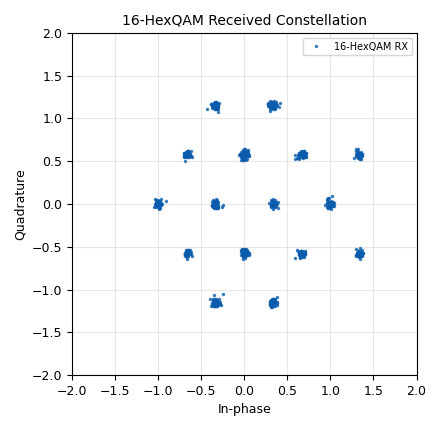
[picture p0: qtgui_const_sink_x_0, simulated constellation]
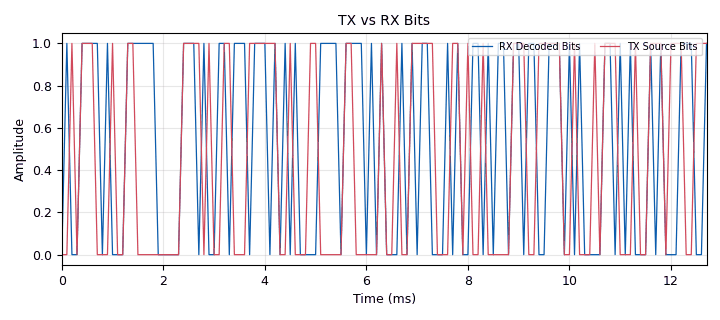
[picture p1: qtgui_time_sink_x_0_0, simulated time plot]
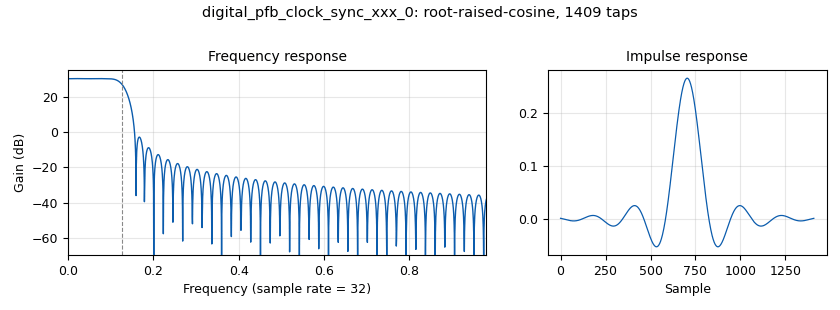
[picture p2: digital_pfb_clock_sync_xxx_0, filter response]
options:
  parameters:
    author: JaganMohan
    category: Custom
    description: 16-HexQAM simulation using native GRC blocks with custom constellation
    generate_options: qt_gui
    id: HQAM16
    output_language: python
    title: 16-HexQAM (Hexagonal QAM)
  states: {}

blocks:
- name: Alpha
  id: variable
  parameters:
    value: '0.22'
  states: {}
- name: hqam_const
  id: variable_constellation
  parameters:
    comment: '16-HexQAM: 16 custom hexagonal IQ points, Es~1'
    const_points: '[-0.3333+1.1547j, 0.3333+1.1547j, -0.6667+0.5774j, 0.0000+0.5774j, 0.6667+0.5774j, 1.3333+0.5774j, -0.3333+0.0000j, 0.3333+0.0000j, 1.0000+0.0000j, -0.6667-0.5774j, 0.0000-0.5774j, 0.6667-0.5774j, 1.3333-0.5774j, -0.3333-1.1547j, 0.3333-1.1547j, -1.0000+0.0000j]'
    dims: '1'
    normalization: digital.constellation.NO_NORMALIZATION
    precision: '8'
    rot_sym: '4'
    sym_map: '[0, 1, 2, 3, 4, 5, 6, 7, 8, 9, 10, 11, 12, 13, 14, 15]'
    type: calcdist
  states: {}
- name: nfilts
  id: variable
  parameters:
    value: '32'
  states: {}
- name: noise_volt
  id: variable_qtgui_range
  parameters:
    comment: 0,0,1,1
    gui_hint: 0,0,1,1
    label: 'Channel: Noise Voltage'
    start: '0'
    step: '0.01'
    stop: '1'
    value: '0.05'
    widget: eng_slider
  states: {}
- name: rrc_taps
  id: variable
  parameters:
    value: firdes.root_raised_cosine(nfilts, nfilts, 1.0/float(sps), Alpha, 11*sps*nfilts)
  states: {}
- name: samp_rate
  id: variable
  parameters:
    value: '10000'
  states: {}
- name: sps
  id: variable
  parameters:
    value: '4'
  states: {}
- name: timing_loop_bw
  id: variable
  parameters:
    value: '0.0628'
  states: {}
- name: BER
  id: qtgui_number_sink
  parameters:
    comment: 0,1,1,1
    graph_type: qtgui.NUM_GRAPH_HORIZ
    gui_hint: 0,1,1,1
    label1: BER (16-HexQAM)
    name: BER
    type: float
  states: {}
- name: analog_random_source_x_0
  id: analog_random_source_x
  parameters:
    max: '255'
    min: '0'
    num_samps: '10000'
    repeat: 'True'
    type: byte
  states: {}
- name: blocks_char_to_float_0_0
  id: blocks_char_to_float
  parameters:
    scale: '1'
  states: {}
- name: blocks_char_to_float_0_0_0
  id: blocks_char_to_float
  parameters:
    scale: '1'
  states: {}
- name: blocks_char_to_float_0_1
  id: blocks_char_to_float
  parameters:
    scale: '1'
  states: {}
- name: blocks_delay_0
  id: blocks_delay
  parameters:
    comment: Aligns TX bits with RX after RRC filter + PFB latency
    delay: int(5.5 * sps +7)*4
    type: byte
  states: {}
- name: blocks_integrate_xx_0
  id: blocks_integrate_xx
  parameters:
    decim: '100'
    type: float
  states: {}
- name: blocks_multiply_const_vxx_1
  id: blocks_multiply_const_vxx
  parameters:
    const: 1/100
    type: float
  states: {}
- name: blocks_throttle2_0
  id: blocks_throttle2
  parameters:
    samples_per_second: samp_rate
    type: complex
  states: {}
- name: blocks_unpack_k_bits_bb_0_0
  id: blocks_unpack_k_bits_bb
  parameters:
    k: '8'
  states: {}
- name: blocks_unpack_k_bits_bb_0_0_0
  id: blocks_unpack_k_bits_bb
  parameters:
    k: '4'
  states: {}
- name: blocks_xor_xx_0
  id: blocks_xor_xx
  parameters:
    type: byte
  states: {}
- name: channels_channel_model_0
  id: channels_channel_model
  parameters:
    epsilon: '1'
    freq_offset: '0'
    noise_voltage: noise_volt
    seed: '0'
    taps: 1+0j
  states: {}
- name: digital_constellation_decoder_cb_0
  id: digital_constellation_decoder_cb
  parameters:
    comment: Nearest-neighbour decision using hqam_const Euclidean distance
    constellation: hqam_const
  states: {}
- name: digital_constellation_modulator_0
  id: digital_constellation_modulator
  parameters:
    comment: Maps bytes through hqam_const, applies RRC shaping at sps=4
    constellation: hqam_const
    differential: 'False'
    excess_bw: Alpha
    samples_per_symbol: sps
  states: {}
- name: digital_diff_decoder_bb_0
  id: digital_diff_decoder_bb
  parameters:
    coding: digital.DIFF_DIFFERENTIAL
    modulus: '16'
  states: {}
- name: digital_pfb_clock_sync_xxx_0
  id: digital_pfb_clock_sync_xxx
  parameters:
    filter_size: nfilts
    init_phase: nfilts/2
    loop_bw: timing_loop_bw
    max_dev: '1.5'
    osps: '1'
    sps: sps
    taps: rrc_taps
    type: ccf
  states: {}
- name: qtgui_const_sink_x_0
  id: qtgui_const_sink_x
  parameters:
    comment: 1,0,1,1
    gui_hint: 1,0,1,1
    label1: 16-HexQAM RX
    name: '"16-HexQAM Received Constellation"'
    size: '1024'
    type: complex
  states: {}
- name: qtgui_time_sink_x_0_0
  id: qtgui_time_sink_x
  parameters:
    autoscale: 'True'
    color1: dark blue
    comment: 2,0,1,2
    ctrlpanel: 'True'
    gui_hint: 2,0,1,2
    label1: RX Decoded Bits
    label2: TX Source Bits
    name: '"TX vs RX Bits"'
    nconnections: '2'
    size: '128'
    srate: samp_rate
    tr_mode: qtgui.TRIG_MODE_AUTO
    type: float
    ymax: '2'
    ymin: '-2'
  states: {}
- name: virtual_sink_0
  id: virtual_sink
  parameters:
    stream_id: Decoded
  states: {}
- name: virtual_sink_1
  id: virtual_sink
  parameters:
    stream_id: Source
  states: {}
- name: virtual_source_1
  id: virtual_source
  parameters:
    stream_id: Source
  states: {}
- name: virtual_source_1_0
  id: virtual_source
  parameters:
    stream_id: Decoded
  states: {}

connections:
- [analog_random_source_x_0, '0', digital_constellation_modulator_0, '0']
- [analog_random_source_x_0, '0', virtual_sink_1, '0']
- [blocks_char_to_float_0_0, '0', qtgui_time_sink_x_0_0, '0']
- [blocks_char_to_float_0_0_0, '0', qtgui_time_sink_x_0_0, '1']
- [blocks_char_to_float_0_1, '0', blocks_integrate_xx_0, '0']
- [blocks_delay_0, '0', blocks_char_to_float_0_0_0, '0']
- [blocks_delay_0, '0', blocks_xor_xx_0, '1']
- [blocks_integrate_xx_0, '0', blocks_multiply_const_vxx_1, '0']
- [blocks_multiply_const_vxx_1, '0', BER, '0']
- [blocks_throttle2_0, '0', channels_channel_model_0, '0']
- [blocks_unpack_k_bits_bb_0_0, '0', blocks_delay_0, '0']
- [blocks_unpack_k_bits_bb_0_0_0, '0', blocks_char_to_float_0_0, '0']
- [blocks_unpack_k_bits_bb_0_0_0, '0', blocks_xor_xx_0, '0']
- [blocks_xor_xx_0, '0', blocks_char_to_float_0_1, '0']
- [channels_channel_model_0, '0', digital_pfb_clock_sync_xxx_0, '0']
- [digital_constellation_decoder_cb_0, '0', virtual_sink_0, '0']
- [digital_constellation_modulator_0, '0', blocks_throttle2_0, '0']
- [digital_diff_decoder_bb_0, '0', blocks_unpack_k_bits_bb_0_0_0, '0']
- [digital_pfb_clock_sync_xxx_0, '0', digital_constellation_decoder_cb_0, '0']
- [digital_pfb_clock_sync_xxx_0, '0', qtgui_const_sink_x_0, '0']
- [virtual_source_1, '0', blocks_unpack_k_bits_bb_0_0, '0']
- [virtual_source_1_0, '0', digital_diff_decoder_bb_0, '0']

metadata:
  file_format: 1
  grc_version: 3.10.12.0
